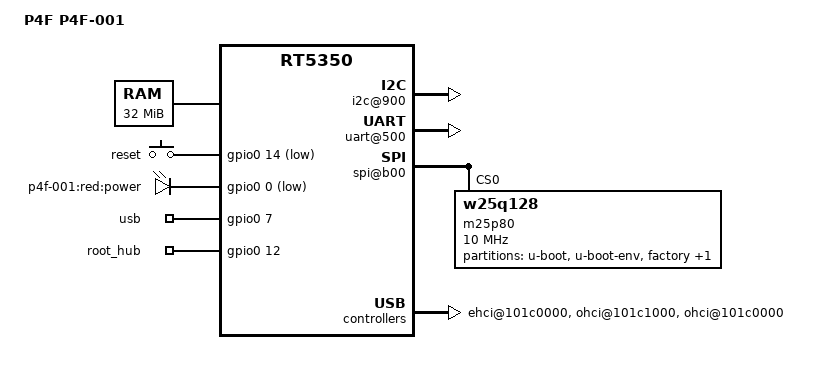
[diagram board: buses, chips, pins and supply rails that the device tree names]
/dts-v1/;

/include/ "rt5350.dtsi"

/ {
	compatible = "P4F001", "ralink,rt5350-soc";
	model = "P4F P4F-001";

	memory@0 {
		device_type = "memory";
		reg = <0x0 0x2000000>;
	};

	chosen {
		bootargs = "console=ttyS1,57600";
	};

	palmbus@10000000 {
                i2c@900 {
			status = "okay";
		};

		uart@500 {
			status = "okay";
		};

		spi@b00 {
			status = "okay";
			m25p80@0 {
				#address-cells = <1>;
				#size-cells = <1>;
				compatible = "w25q128";
				reg = <0 0>;
				linux,modalias = "m25p80", "w25q128";
				spi-max-frequency = <10000000>;

				partition@0 {
					label = "u-boot";
					reg = <0x0 0x30000>;
					read-only;
				};

				partition@30000 {
					label = "u-boot-env";
					reg = <0x30000 0x10000>;
					read-only;
				};

				factory: partition@40000 {
					label = "factory";
					reg = <0x40000 0x10000>;
					read-only;
				};

				partition@50000 {
					label = "firmware";
					reg = <0x50000 0xfb0000>;
				};
			};
		};
	};

	pinctrl {
		state_default: pinctrl0 {
			gpio {
				ralink,group = "jtag";
				ralink,function = "gpio";
			};
		};
	};

	ethernet@10100000 {
		mtd-mac-address = <&factory 0x4>;
	};

	wmac@10180000 {
		ralink,mtd-eeprom = <&factory 0>;
	};

	ehci@101c0000 {
		status = "okay";
	};

	ohci@101c1000 {
		status = "okay";
	};

	gpio-keys-polled {
		compatible = "gpio-keys-polled";
		#address-cells = <1>;
		#size-cells = <0>;
		poll-interval = <20>;
		wps {
			label = "reset";
			gpios = <&gpio0 14 1>;
			linux,code = <0x198>;
		};
	};

	gpio-leds {
		compatible = "gpio-leds";
		power {
			label = "p4f-001:red:power";
			gpios = <&gpio0 0 1>;
		};
	};

        ehci@101c0000 {
                status = "okay";
        };

        ohci@101c0000 {
                status = "okay";
        };

        gpio_export {
                compatible = "gpio-export";
                #size-cells = <0>;

                usb {
                        gpio-export,name = "usb";
                        gpio-export,output = <1>;
                        gpios = <&gpio0 7 0>;
                };

                root_hub {
                        gpio-export,name = "root_hub";
                        gpio-export,output = <1>;
                        gpios = <&gpio0 12 0>;
                };
        };
};
